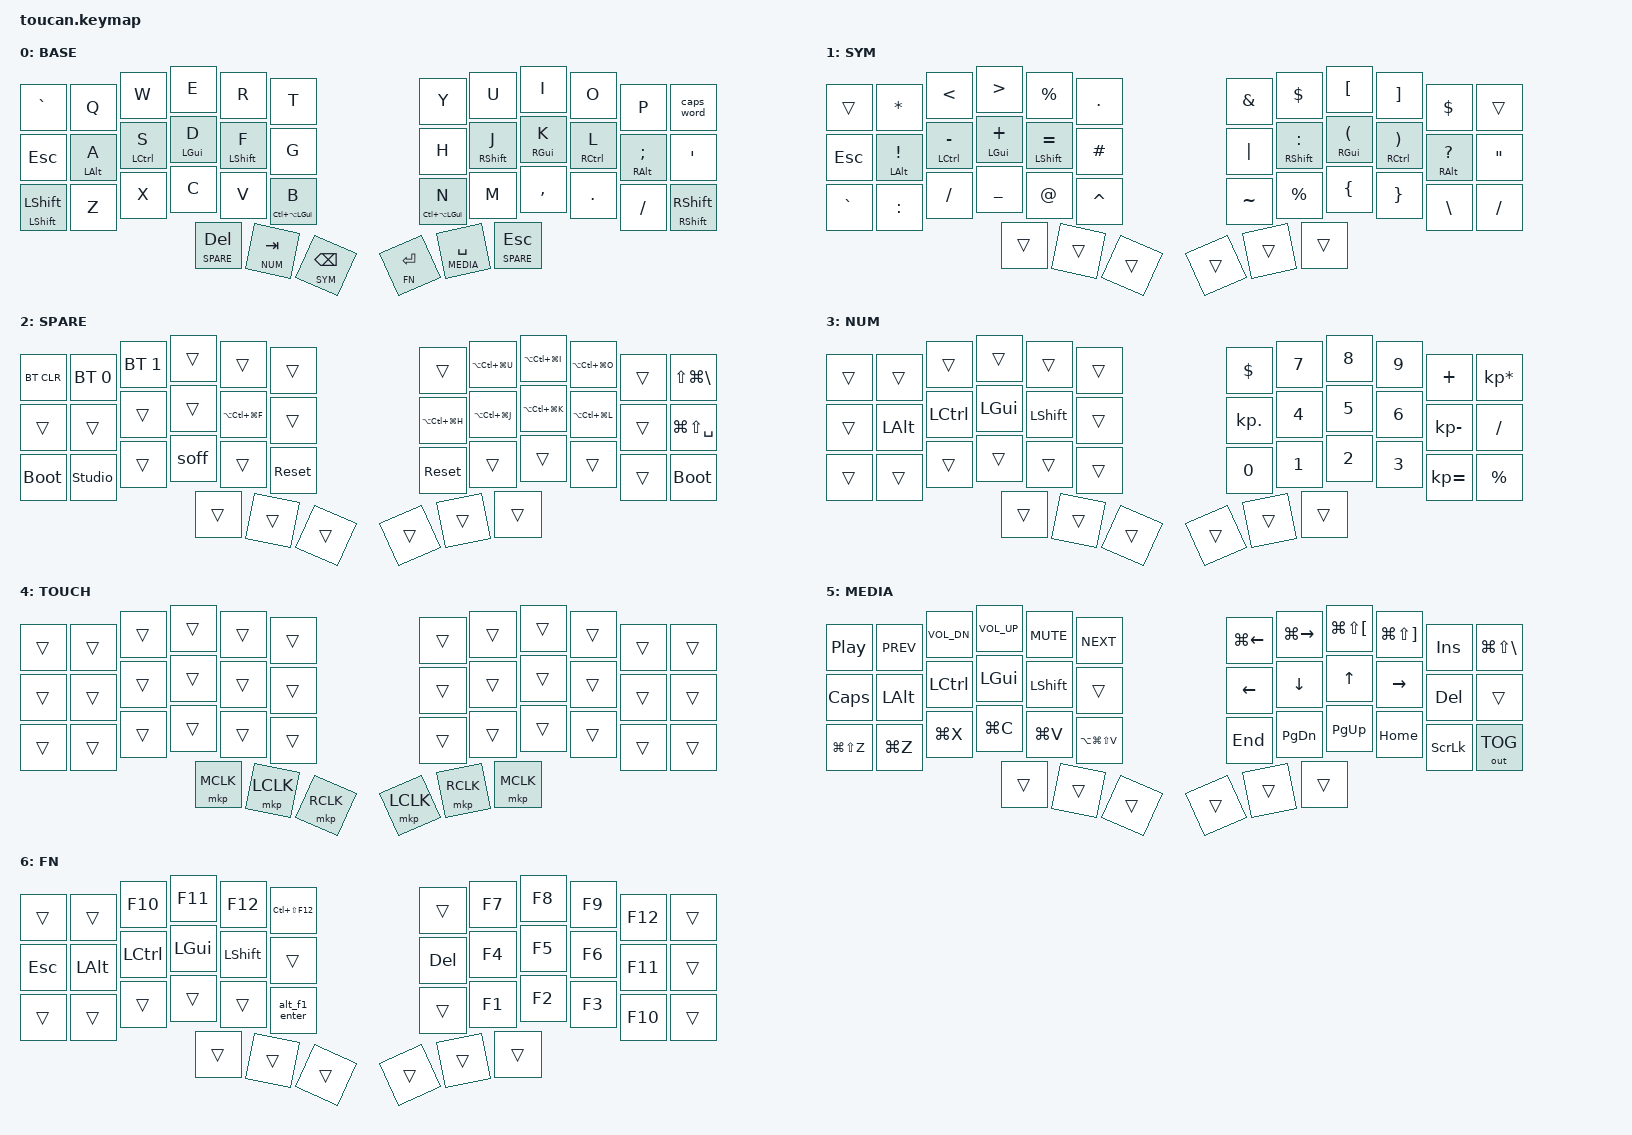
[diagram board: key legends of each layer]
#include <behaviors.dtsi>
#include <dt-bindings/zmk/bt.h>
#include <dt-bindings/zmk/keys.h>
#include <dt-bindings/zmk/outputs.h>
#include <dt-bindings/zmk/pointing.h>

#define BASE  0
#define SYM   1   // symbols, both hands (Voyager layers 1 + 2 merged)
#define SPARE 2   // window manager chords
#define NUM   3   // numpad + system     (Voyager layer 3)
#define TOUCH 4   // trackpad touch layer -- index is fixed in toucan.dtsi
#define MEDIA 5   // media / nav / macOS (Voyager layer 5)
#define FN    6   // function keys       (Voyager layer 4)

// Left-hand keys, right-hand keys, all thumbs -- used for chordal hold.

#define LEFT_KEYS  0  1  2  3  4  5 12 13 14 15 16 17 24 25 26 27 28 29
#define RIGHT_KEYS 6  7  8  9 10 11 18 19 20 21 22 23 30 31 32 33 34 35
#define THUMBS    36 37 38 39 40 41

/ {
    behaviors {
        // Home row mods. QMK chordal_hold -> hold-trigger-key-positions.

        hml: home_row_mod_left {
            compatible = "zmk,behavior-hold-tap";
            #binding-cells = <2>;
            flavor = "balanced";
            tapping-term-ms = <200>;
            quick-tap-ms = <175>;
            require-prior-idle-ms = <150>;
            bindings = <&kp>, <&kp>;

            hold-trigger-key-positions = <RIGHT_KEYS THUMBS>;
            hold-trigger-on-release;
            display-name = "HRM Left";
        };

        hmr: home_row_mod_right {
            compatible = "zmk,behavior-hold-tap";
            #binding-cells = <2>;
            flavor = "balanced";
            tapping-term-ms = <200>;
            quick-tap-ms = <175>;
            require-prior-idle-ms = <150>;
            bindings = <&kp>, <&kp>;

            hold-trigger-key-positions = <LEFT_KEYS THUMBS>;
            hold-trigger-on-release;
            display-name = "HRM Right";
        };

        // Shift keys get the +100ms from your get_tapping_term().

        hmls: home_row_mod_left_slow {
            compatible = "zmk,behavior-hold-tap";
            #binding-cells = <2>;
            flavor = "balanced";
            tapping-term-ms = <300>;
            quick-tap-ms = <175>;
            require-prior-idle-ms = <150>;
            bindings = <&kp>, <&kp>;

            hold-trigger-key-positions = <RIGHT_KEYS THUMBS>;
            hold-trigger-on-release;
            display-name = "HRM Left Shift";
        };

        hmrs: home_row_mod_right_slow {
            compatible = "zmk,behavior-hold-tap";
            #binding-cells = <2>;
            flavor = "balanced";
            tapping-term-ms = <300>;
            quick-tap-ms = <175>;
            require-prior-idle-ms = <150>;
            bindings = <&kp>, <&kp>;

            hold-trigger-key-positions = <LEFT_KEYS THUMBS>;
            hold-trigger-on-release;
            display-name = "HRM Right Shift";
        };

        // Thumb shift: hold = Shift, tap = sticky Shift (next letter capitalised).

        sft: shift_sticky {
            compatible = "zmk,behavior-hold-tap";
            #binding-cells = <2>;
            flavor = "hold-preferred";
            tapping-term-ms = <200>;
            bindings = <&kp>, <&sk>;

            display-name = "Shift / Caps Next";
        };

        // Stock &soft_off pairs split-peripheral-off-on-press with no hold time; that
        // combination powers the peripheral off on a brief tap. Let both halves time it.

        soff: soft_off_hold {
            compatible = "zmk,behavior-soft-off";
            #binding-cells = <0>;
            hold-time-ms = <2000>;
        };

        tlt: thumb-layer-tap {
            compatible = "zmk,behavior-hold-tap";
            label = "Thumb Layer-Tap";
            bindings = <&mo>, <&kp>;

            #binding-cells = <2>;
            flavor = "balanced";
            tapping-term-ms = <200>;
            quick-tap-ms = <175>;
            require-prior-idle-ms = <150>;
        };

        // For thumbs rolled against letters: tap-preferred never steals the tap,
        // at the cost of 200ms to reach the layer.

        tltt: thumb-layer-tap-tap-preferred {
            compatible = "zmk,behavior-hold-tap";
            label = "Thumb Layer-Tap TP";
            bindings = <&mo>, <&kp>;

            #binding-cells = <2>;
            flavor = "tap-preferred";
            tapping-term-ms = <200>;
            quick-tap-ms = <175>;
            require-prior-idle-ms = <150>;
        };
    };

    macros {
        // ST_MACRO_0: Alt+F1, wait 100ms, Enter

        alt_f1_enter: alt_f1_enter {
            compatible = "zmk,behavior-macro";
            #binding-cells = <0>;
            wait-ms = <10>;
            tap-ms = <10>;
            bindings =
                <&macro_tap>,
                <&kp LA(F1)>,
                <&macro_wait_time 100>,
                <&macro_tap>,
                <&kp RET>;

            display-name = "Alt-F1 Enter";
        };
    };

    keymap {
        compatible = "zmk,keymap";

        base {
            display-name = "BASE";
            bindings = <
                &kp GRAVE              &kp Q        &kp W         &kp E               &kp R          &kp T                             &kp Y                &kp U               &kp I        &kp O         &kp P           &caps_word
                &kp ESC                &hml LALT A  &hml LCTRL S  &hml LGUI D         &hmls LSHFT F  &kp G                             &kp H                &hmrs RSHFT J       &hmr RGUI K  &hmr RCTRL L  &hmr RALT SEMI  &kp SQT
                &sft LSHFT LEFT_SHIFT  &kp Z        &kp X         &kp C               &kp V          &hml LC(LA(LGUI)) B               &hmr LC(LA(LGUI)) N  &kp M               &kp COMMA    &kp DOT       &kp FSLH        &sft RIGHT_SHIFT RIGHT_SHIFT
                                                                  &tltt SPARE DELETE  &tlt NUM TAB   &tlt SYM BACKSPACE   &tlt FN RET  &tltt MEDIA SPACE    &tltt SPARE ESCAPE
            >;
        };

        sym {
            display-name = "SYM";
            bindings = <
                &trans     &kp ASTRK       &kp LT            &kp GT          &kp PERCENT        &kp DOT            &kp AMPS   &kp DLLR           &kp LBKT        &kp RBKT         &kp DLLR         &trans
                &kp ESC    &hml LALT EXCL  &hml LCTRL MINUS  &hml LGUI PLUS  &hmls LSHFT EQUAL  &kp HASH           &kp PIPE   &hmrs RSHFT COLON  &hmr RGUI LPAR  &hmr RCTRL RPAR  &hmr RALT QMARK  &kp DQT
                &kp GRAVE  &kp COLON       &kp FSLH          &kp UNDER       &kp AT             &kp CARET          &kp TILDE  &kp PRCNT          &kp LBRC        &kp RBRC         &kp BSLH         &kp SLASH
                                                             &trans          &trans             &trans     &trans  &trans     &trans
            >;
        };

        functionality {
            display-name = "SPARE";
            bindings = <
                &bt BT_CLR   &bt BT_SEL 0    &bt BT_SEL 1  &trans  &trans             &trans              &trans             &kp LA(LC(LG(U)))  &kp LA(LC(LG(I)))  &kp LA(LC(LG(O)))  &trans  &kp LS(LG(BACKSLASH))
                &trans       &trans          &trans        &trans  &kp LA(LC(LG(F)))  &trans              &kp LA(LC(LG(H)))  &kp LA(LC(LG(J)))  &kp LA(LC(LG(K)))  &kp LA(LC(LG(L)))  &trans  &kp LG(LS(SPACE))
                &bootloader  &studio_unlock  &trans        &soff   &trans             &sys_reset          &sys_reset         &trans             &trans             &trans             &trans  &bootloader
                                                           &trans  &trans             &trans      &trans  &trans             &trans
            >;
        };

        num {
            display-name = "NUM";
            bindings = <
                &trans  &trans    &trans     &trans    &trans     &trans          &kp DOLLAR  &kp N7  &kp N8  &kp N9  &kp PLUS      &kp KP_MULTIPLY
                &trans  &kp LALT  &kp LCTRL  &kp LGUI  &kp LSHFT  &trans          &kp KP_DOT  &kp N4  &kp N5  &kp N6  &kp KP_MINUS  &kp FSLH
                &trans  &trans    &trans     &trans    &trans     &trans          &kp N0      &kp N1  &kp N2  &kp N3  &kp KP_EQUAL  &kp PERCENT
                                             &trans    &trans     &trans  &trans  &trans      &trans
            >;
        };

        touch {
            display-name = "TOUCH";
            bindings = <
                &trans  &trans  &trans  &trans     &trans     &trans                &trans     &trans     &trans  &trans  &trans  &trans
                &trans  &trans  &trans  &trans     &trans     &trans                &trans     &trans     &trans  &trans  &trans  &trans
                &trans  &trans  &trans  &trans     &trans     &trans                &trans     &trans     &trans  &trans  &trans  &trans
                                        &mkp MCLK  &mkp LCLK  &mkp RCLK  &mkp LCLK  &mkp RCLK  &mkp MCLK
            >;
        };

        media {
            display-name = "MEDIA";
            bindings = <
                &kp C_PP       &kp C_PREV  &kp C_VOL_DN  &kp C_VOL_UP  &kp C_MUTE  &kp C_NEXT                 &kp LG(LEFT)  &kp LG(RIGHT)  &kp LG(LS(LBKT))  &kp LG(LS(RBKT))  &kp INS   &kp LG(LS(BSLH))
                &kp CAPS       &kp LALT    &kp LCTRL     &kp LGUI      &kp LSHFT   &trans                     &kp LEFT      &kp DOWN       &kp UP            &kp RIGHT         &kp DEL   &trans
                &kp LG(LS(Z))  &kp LG(Z)   &kp LG(X)     &kp LG(C)     &kp LG(V)   &kp LA(LG(LS(V)))          &kp END       &kp PG_DN      &kp PG_UP         &kp HOME          &kp SLCK  &out OUT_TOG
                                                         &trans        &trans      &trans             &trans  &trans        &trans
            >;
        };

        fn {
            display-name = "FN";
            bindings = <
                &trans   &trans    &kp F10    &kp F11   &kp F12    &kp LC(LS(F12))          &trans   &kp F7  &kp F8  &kp F9  &kp F12  &trans
                &kp ESC  &kp LALT  &kp LCTRL  &kp LGUI  &kp LSHFT  &trans                   &kp DEL  &kp F4  &kp F5  &kp F6  &kp F11  &trans
                &trans   &trans    &trans     &trans    &trans     &alt_f1_enter            &trans   &kp F1  &kp F2  &kp F3  &kp F10  &trans
                                              &trans    &trans     &trans           &trans  &trans   &trans
            >;
        };

        extra_8 { status = "reserved"; };

        extra_9 { status = "reserved"; };
    };
};
